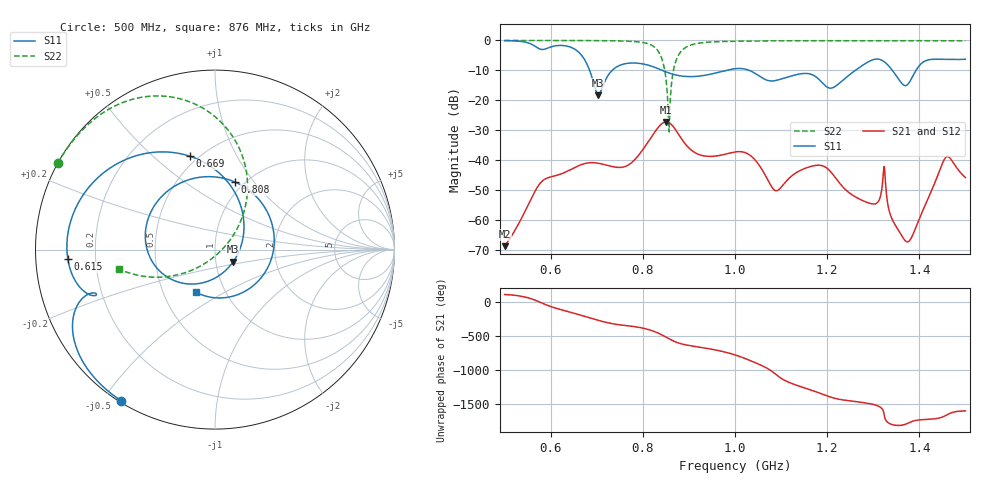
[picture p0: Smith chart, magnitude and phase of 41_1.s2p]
! TOUCHSTONE file generated by CST MICROWAVE STUDIO
! Date and time: Sat Nov 14 20:44:36 2020
! Project name: Scenario_1_Planar_Body_Tissue_Out_of_Line_v2.cst
! Parameters = {dy1=-346; L_HA=400; Ltissue=700; MT=2.54; Rad_Dielectric=30; Rad_Lower=7.3; Rad_Upper=30; Wtissue=700; a_HA=580; a_WG=246; b_HA=500; b_WG=121; c_HA=0; c_WG=187; d_feed=85; dx1=173; h_feed=15; h_lower=18; h_upper=40; hfat=3; hgap=25; hmuscle=50; hskin=1.5}
! Header version: 2018
! Port assignment regex: !\s*Touchstone port\s*([0-9]+)\s*=\s*(CST MWS port|CST DS port)\s*([0-9]+|Zmin|Zmax)\s*\(\"(.*)\"\)(\s*mode\s*([0-9]+))?.*
! Touchstone port assignment:
! Touchstone port 1 = CST MWS port 1 ("")
! Touchstone port 2 = CST MWS port 2 ("")
# GHz S DB R 50
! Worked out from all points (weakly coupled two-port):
!   1003 points, 500 MHz to 1.5 GHz, reference 50 ohm
!   highest |S21| = -27.24 dB at 851 MHz (marker M1); lowest = -68.8 dB at 500 MHz (marker M2)
!   lowest |S11| = -18.3 dB at 703 MHz (marker M3), VSWR 1.28, Z = 60.8 - j8.19 ohm
!   |S11| at or under -10 dB: 842.1 MHz to 981.1 MHz (139.1 MHz wide, 15.3 % of centre); 1.031 GHz to 1.261 GHz (230.5 MHz wide, 20.1 % of centre); 1.341 GHz to 1.393 GHz (51.4 MHz wide, 3.76 % of centre)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
!   |S22| runs from -30.6 to 0.0 dB; largest |S21 - S12| = 0.00099
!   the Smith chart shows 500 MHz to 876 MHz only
!   S11 on the Smith chart (normalised r, x): 500 MHz: 0.01, -0.56; 615 MHz: 0.10, -0.03; 669 MHz: 0.45, +0.66; 808 MHz: 0.91, +0.81; 876 MHz: 0.73, -0.37
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0.5  -0.08 -121.8  -68.80 109.7  -68.79 109.7  -0.01 151.1
0.615  -1.70 -176.3  -45.03 -98.4  -45.03 -98.4  -0.02 142.9
0.667  -4.97 109.2  -41.50 162.6  -41.50 162.6  -0.04 138.3
0.669  -5.38 105.0  -41.39 158.4  -41.39 158.4  -0.04 138.2
0.703  -18.29 -33.1  -41.06 90.1  -41.06 90.1  -0.07 134.5
0.755  -8.04 168.7  -42.41 20.3  -42.40 20.3  -0.18 126.3
0.808  -8.12 73.5  -34.73 -36.3  -34.73 -36.3  -0.96 107.6
0.834  -9.48 10.7  -28.95 -98.9  -28.95 -98.9  -3.76 82.0
0.851  -10.56 -37.8  -27.24 -158.3  -27.24 -158.3  -14.00 46.5
0.858  -10.95 -59.0  -27.61 176.0  -27.61 176.0  -25.43 -109.4
0.876  -11.70 -114.2  -31.03 121.4  -31.03 121.4  -5.29 -168.4
0.939  -11.54 89.3  -38.73 39.2  -38.73 39.1  -0.61 151.3
1  -9.46 -21.4  -37.31 -56.5  -37.30 -56.5  -0.28 140.0
1.089  -13.37 114.8  -50.25 14.1  -50.26 14.2  -0.13 130.7
1.167  -11.42 -53.2  -42.03 142.3  -42.03 142.3  -0.09 124.2
1.263  -9.80 57.7  -52.46 -22.7  -52.46 -22.7  -0.08 116.9
1.307  -6.23 3.9  -54.46 -77.1  -54.49 -77.1  -0.09 113.6
1.323  -7.03 -19.0  -42.49 168.8  -41.76 165.0  -0.09 112.4
1.334  -8.60 -30.7  -56.58 20.9  -56.64 19.2  -0.09 111.5
1.376  -14.50 0.7  -67.31 22.7  -67.22 23.1  -0.09 108.3
1.457  -6.35 -30.6  -39.17 132.4  -39.26 132.2  -0.11 101.7
1.5  -6.30 -40.8  -45.85 -158.8  -45.85 -158.8  -0.13 97.9
